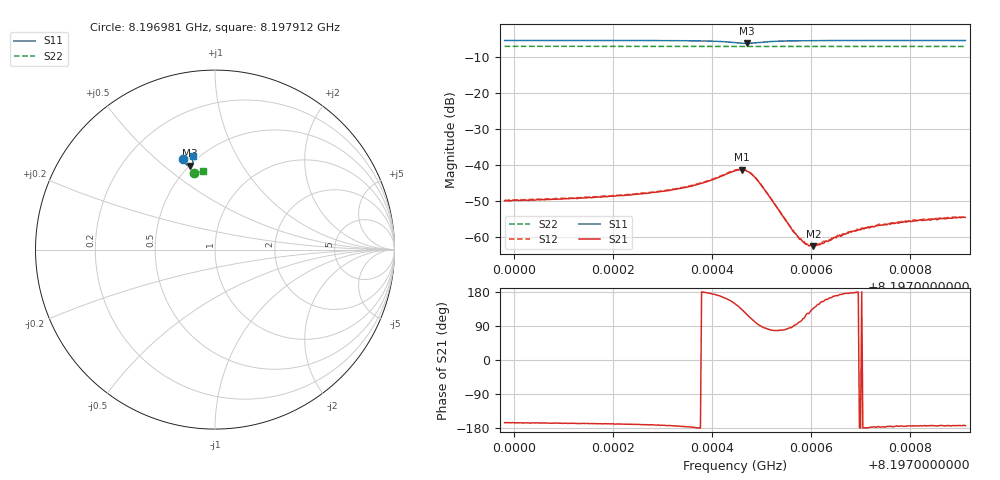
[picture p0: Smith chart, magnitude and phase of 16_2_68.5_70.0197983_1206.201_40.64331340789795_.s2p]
#  HZ  S  RI  R  50.00
! Rohde & Schwarz Vector Network Analyzer
! Rohde-Schwarz,ZNB20-2Port,1311601062101988,3.16
! Created: UTC 3/20/2024, 4:49:13 PM
! freq[Hz]  re:S11  im:S11  re:S21  im:S21  re:S12  im:S12  re:S22  im:S22
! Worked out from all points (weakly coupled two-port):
!   401 points, 8.196981 GHz to 8.197912 GHz, reference 50 ohm
!   highest |S21| = -41.29 dB at 8.19746 GHz (marker M1); lowest = -62.5 dB at 8.197605 GHz (marker M2)
!   lowest |S11| = -6.2 dB at 8.19747 GHz (marker M3), VSWR 2.91, Z = 25.1 + j30.9 ohm
!   |S11| at or under -10 dB: nowhere
!   |S22| runs from -7.1 to -7.0 dB; largest |S21 - S12| = 0.00045
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8.1969812e9  -0.1806 0.5047  -0.00308 -0.0008  -0.00319 -0.000713  -0.1155 0.4288
8.197137e9  -0.1683 0.5084  -0.00341 -0.000758  -0.00351 -0.000621  -0.1071 0.4306
8.1972301e9  -0.1599 0.5103  -0.00377 -0.000715  -0.00387 -0.000543  -0.1019 0.4317
8.1972929e9  -0.153 0.5112  -0.00419 -0.000623  -0.00431 -0.00042  -0.0983 0.4323
8.197372e9  -0.1403 0.5101  -0.0054 -6.12e-05  -0.00551 0.00017  -0.0937 0.4332
8.1974465e9  -0.1238 0.485  -0.00709 0.00434  -0.00703 0.00475  -0.0895 0.4331
8.1974605e9  -0.1299 0.4731  -0.00587 0.00631  -0.00566 0.00666  -0.0891 0.433
8.1974698e9  -0.1389 0.4678  -0.00426 0.00712  -0.00397 0.00741  -0.0887 0.4329
8.1974814e9  -0.1516 0.4681  -0.00206 0.00704  -0.00174 0.00722  -0.0885 0.4331
8.197493e9  -0.161 0.4743  -0.000393 0.00599  -0.000159 0.0061  -0.0881 0.4335
8.1975605e9  -0.1607 0.5042  0.000114 0.0013  0.000106 0.00134  -0.0841 0.4349
8.1975721e9  -0.1589 0.5062  -0.000102 0.00104  -7.37e-05 0.00105  -0.0835 0.435
8.1975908e9  -0.1561 0.5087  -0.000413 0.000686  -0.00036 0.0007  -0.0825 0.4352
8.1976024e9  -0.1545 0.5098  -0.000527 0.000548  -0.000514 0.000572  -0.0819 0.4353
8.1976047e9  -0.1541 0.51  -0.000539 0.000518  -0.000563 0.000561  -0.0817 0.4354
8.197621e9  -0.152 0.5113  -0.00074 0.00037  -0.000711 0.000423  -0.0808 0.4356
8.1976536e9  -0.1481 0.5134  -0.00101 0.000186  -0.00104 0.00021  -0.0789 0.4358
8.1976885e9  -0.1445 0.5149  -0.00121 3.6e-05  -0.00122 8.54e-05  -0.077 0.4362
8.1977373e9  -0.1398 0.5165  -0.00146 -0.000103  -0.00151 -2.1e-05  -0.0741 0.4367
8.1977583e9  -0.1379 0.5172  -0.00152 -0.000126  -0.00154 -5.92e-05  -0.073 0.4367
8.1978211e9  -0.1325 0.5187  -0.00171 -0.000201  -0.00173 -8.5e-05  -0.0694 0.4371
8.1979118e9  -0.1253 0.5206  -0.00186 -0.000218  -0.00191 -0.000134  -0.0643 0.4377
